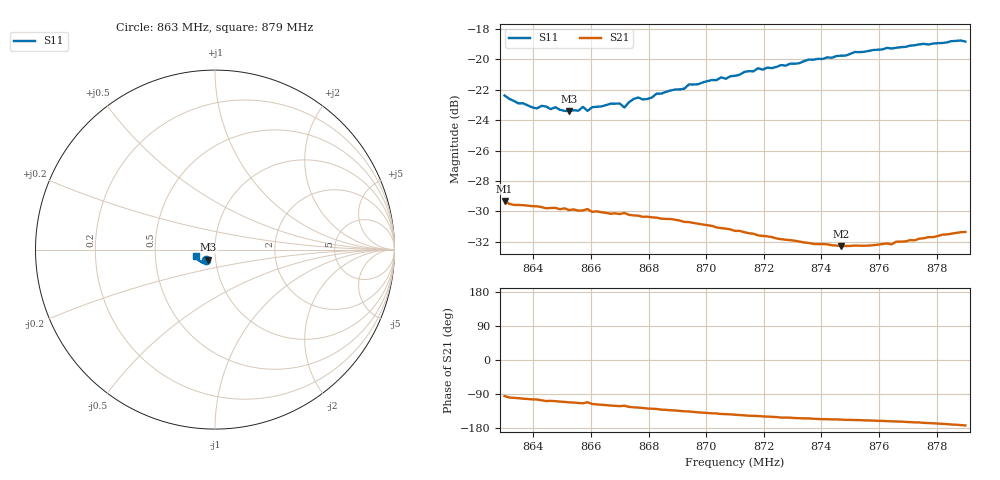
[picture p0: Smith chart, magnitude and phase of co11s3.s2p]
# HZ S RI R 50
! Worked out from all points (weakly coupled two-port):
!   101 points, 863 MHz to 879 MHz, reference 50 ohm
!   highest |S21| = -29.31 dB at 863 MHz (marker M1); lowest = -32.3 dB at 874.68 MHz (marker M2)
!   lowest |S11| = -23.4 dB at 865.24 MHz (marker M3), VSWR 1.14, Z = 46.1 - j5.17 ohm
!   |S11| at or under -10 dB: start of sweep to end of sweep
!   S12 and S22 are empty: the file has one direction only
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8.63e8  -0.048 -0.059  -0.00308 -0.0341  0 0  0 0
8.6332e8  -0.0464 -0.0563  -0.00566 -0.0327  0 0  0 0
8.6396e8  -0.042 -0.0554  -0.00796 -0.0319  0 0  0 0
8.6428e8  -0.0415 -0.0567  -0.00918 -0.0314  0 0  0 0
8.6524e8  -0.038 -0.0559  -0.0118 -0.0297  0 0  0 0
8.6556e8  -0.0375 -0.0565  -0.0127 -0.0292  0 0  0 0
8.6572e8  -0.0371 -0.0591  -0.0131 -0.029  0 0  0 0
8.6588e8  -0.0322 -0.0595  -0.0118 -0.03  0 0  0 0
8.6604e8  -0.0359 -0.0596  -0.0139 -0.0283  0 0  0 0
8.67e8  -0.0368 -0.0614  -0.0163 -0.0264  0 0  0 0
8.6716e8  -0.0362 -0.0592  -0.016 -0.0269  0 0  0 0
8.6748e8  -0.0364 -0.0645  -0.0175 -0.0252  0 0  0 0
8.6796e8  -0.0368 -0.0643  -0.0187 -0.024  0 0  0 0
8.6844e8  -0.0385 -0.0669  -0.0196 -0.0226  0 0  0 0
8.6924e8  -0.0409 -0.0688  -0.0208 -0.0205  0 0  0 0
8.694e8  -0.0433 -0.0705  -0.0209 -0.0203  0 0  0 0
8.71e8  -0.0514 -0.0717  -0.0222 -0.0159  0 0  0 0
8.718e8  -0.0576 -0.0736  -0.0224 -0.014  0 0  0 0
8.7372e8  -0.0693 -0.0717  -0.0224 -0.0105  0 0  0 0
8.7468e8  -0.0775 -0.0676  -0.0224 -0.00942  0 0  0 0
8.7644e8  -0.0907 -0.0596  -0.0234 -0.00768  0 0  0 0
8.79e8  -0.1085 -0.0362  -0.0269 -0.00346  0 0  0 0
